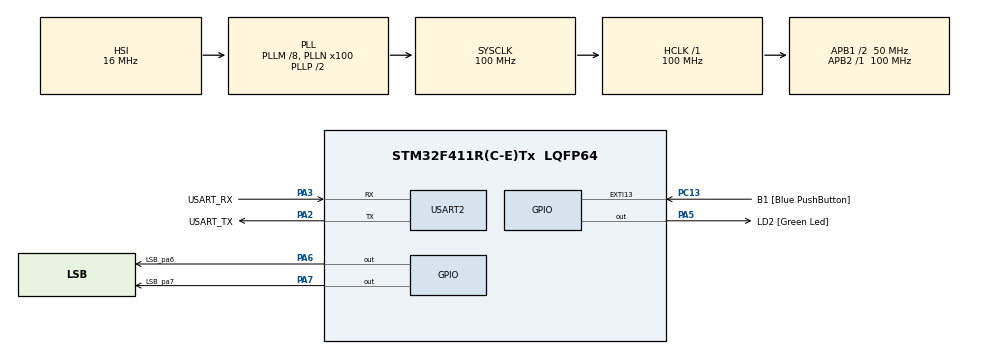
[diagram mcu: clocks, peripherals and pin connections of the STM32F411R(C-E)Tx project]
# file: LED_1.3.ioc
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Mcu.Family=STM32F4
Mcu.Name=STM32F411R(C-E)Tx
Mcu.Package=LQFP64
NVIC.PriorityGroup=NVIC_PRIORITYGROUP_0
PA13.GPIO_Label=TMS
PA13.Mode=Serial_Wire
PA13.Signal=SYS_JTMS-SWDIO
PA14.GPIO_Label=TCK
PA14.Mode=Serial_Wire
PA14.Signal=SYS_JTCK-SWCLK
PA2.GPIO_Label=USART_TX
PA2.Mode=Asynchronous
PA2.Signal=USART2_TX
PA3.GPIO_Label=USART_RX
PA3.Mode=Asynchronous
PA3.Signal=USART2_RX
PA5.GPIO_Label=LD2 [Green Led]
PA5.Signal=GPIO_Output
PA6.GPIO_Label=LSB_pa6
PA6.Signal=GPIO_Output
PA7.GPIO_Label=LSB_pa7
PA7.Signal=GPIO_Output
PB3.GPIO_Label=SWO
PB3.Signal=SYS_JTDO-SWO
PC13-ANTI_TAMP.GPIO_Label=B1 [Blue PushButton]
PC13-ANTI_TAMP.GPIO_ModeDefaultEXTI=GPIO_MODE_IT_FALLING
PC13-ANTI_TAMP.Signal=GPXTI13
PC14-OSC32_IN.Mode=LSE-External-Oscillator
PC14-OSC32_IN.Signal=RCC_OSC32_IN
PC15-OSC32_OUT.Mode=LSE-External-Oscillator
PC15-OSC32_OUT.Signal=RCC_OSC32_OUT
PH0\ -\ OSC_IN.Mode=HSE-External-Clock-Source
PH0\ -\ OSC_IN.Signal=RCC_OSC_IN
PH1\ -\ OSC_OUT.Mode=HSE-External-Clock-Source
PH1\ -\ OSC_OUT.Signal=RCC_OSC_OUT
ProjectManager.HeapSize=0x200
ProjectManager.StackSize=0x400
ProjectManager.TargetToolchain=MDK-ARM V5
RCC.48MHZClocksFreq_Value=50000000
RCC.AHBFreq_Value=100000000
RCC.APB1CLKDivider=RCC_HCLK_DIV2
RCC.APB1Freq_Value=50000000
RCC.APB1TimFreq_Value=100000000
RCC.APB2Freq_Value=100000000
RCC.APB2TimFreq_Value=100000000
RCC.CortexFreq_Value=100000000
RCC.FLatency-AdvancedSettings=FLASH_LATENCY_3
RCC.HCLKFreq_Value=100000000
RCC.HSE_VALUE=8000000
RCC.HSI_VALUE=16000000
RCC.PLLM=8
RCC.PLLN=100
RCC.SYSCLKFreq_VALUE=100000000
RCC.SYSCLKSource=RCC_SYSCLKSOURCE_PLLCLK
RCC.VCOOutputFreq_Value=200000000
USART2.VirtualMode=VM_ASYNC
board=NUCLEO-F411RE

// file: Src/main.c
/* USER CODE BEGIN Header */
/**
  ******************************************************************************
  * @file           : main.c
  * @brief          : Main program body
  ******************************************************************************
  * @attention
  *
  * <h2><center>&copy; Copyright (c) 2019 STMicroelectronics.
  * All rights reserved.</center></h2>
  *
  * This software component is licensed by ST under BSD 3-Clause license,
  * the "License"; You may not use this file except in compliance with the
  * License. You may obtain a copy of the License at:
  *                        opensource.org/licenses/BSD-3-Clause
  *
  ******************************************************************************
  */
/* USER CODE END Header */

#include "main.h"
#include "usart.h"
#include "gpio.h"
#include "stm32f4xx_hal.h"

	uint8_t num=0;

void delay (uint32_t);
void SystemClock_Config(void);

int main(void)
{

  /* MCU Configuration--------------------------------------------------------*/

  /* Reset of all peripherals, Initializes the Flash interface and the Systick. */
  HAL_Init();

  /* Configure the system clock */
  SystemClock_Config();

  /* Initialize all configured peripherals */
  MX_GPIO_Init();
  MX_USART2_UART_Init();

  /* Infinite loop */
  while (1)
  {

    /* USER CODE BEGIN 3 */
		if (num<7)
			num++;
		else
			num = 0;

		GPIOA->ODR ^= GPIO_PIN_5;
		delay(300);

		GPIOA->ODR ^= GPIO_PIN_5;
		GPIOA->ODR ^= GPIO_PIN_6;
		delay(300);

		GPIOA->ODR ^= GPIO_PIN_5;
		delay(300);

		GPIOA->ODR ^= GPIO_PIN_5;
		GPIOA->ODR ^= GPIO_PIN_6;
		GPIOA->ODR ^= GPIO_PIN_7;
		delay(300);

		//HAL_GPIO_TogglePin(GPIOA,GPIO_PIN_5);
		//HAL_Delay(500);
  }
  /* USER CODE END 3 */
}

void SystemClock_Config(void)
{
  RCC_OscInitTypeDef RCC_OscInitStruct = {0};
  RCC_ClkInitTypeDef RCC_ClkInitStruct = {0};

  /** Configure the main internal regulator output voltage
  */
  __HAL_RCC_PWR_CLK_ENABLE();
  __HAL_PWR_VOLTAGESCALING_CONFIG(PWR_REGULATOR_VOLTAGE_SCALE1);
  /** Initializes the CPU, AHB and APB busses clocks
  */
  RCC_OscInitStruct.OscillatorType = RCC_OSCILLATORTYPE_HSI;
  RCC_OscInitStruct.HSIState = RCC_HSI_ON;
  RCC_OscInitStruct.HSICalibrationValue = RCC_HSICALIBRATION_DEFAULT;
  RCC_OscInitStruct.PLL.PLLState = RCC_PLL_ON;
  RCC_OscInitStruct.PLL.PLLSource = RCC_PLLSOURCE_HSI;
  RCC_OscInitStruct.PLL.PLLM = 8;
  RCC_OscInitStruct.PLL.PLLN = 100;
  RCC_OscInitStruct.PLL.PLLP = RCC_PLLP_DIV2;
  RCC_OscInitStruct.PLL.PLLQ = 4;
  if (HAL_RCC_OscConfig(&RCC_OscInitStruct) != HAL_OK)
  {
    Error_Handler();
  }
  /** Initializes the CPU, AHB and APB busses clocks
  */
  RCC_ClkInitStruct.ClockType = RCC_CLOCKTYPE_HCLK|RCC_CLOCKTYPE_SYSCLK
                              |RCC_CLOCKTYPE_PCLK1|RCC_CLOCKTYPE_PCLK2;
  RCC_ClkInitStruct.SYSCLKSource = RCC_SYSCLKSOURCE_PLLCLK;
  RCC_ClkInitStruct.AHBCLKDivider = RCC_SYSCLK_DIV1;
  RCC_ClkInitStruct.APB1CLKDivider = RCC_HCLK_DIV2;
  RCC_ClkInitStruct.APB2CLKDivider = RCC_HCLK_DIV1;

  if (HAL_RCC_ClockConfig(&RCC_ClkInitStruct, FLASH_LATENCY_3) != HAL_OK)
  {
    Error_Handler();
  }
}

/* USER CODE BEGIN 4 */
void delay (uint32_t ms)
{
	volatile uint32_t i,j;
	for(i=0; i<=ms; i++)
		for(j=0; j<=9900; j++)
	;
	return;
}
/* USER CODE END 4 */

void Error_Handler(void)
{
}

/************************ (C) COPYRIGHT STMicroelectronics *****END OF FILE****/
